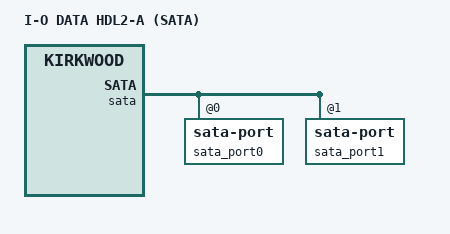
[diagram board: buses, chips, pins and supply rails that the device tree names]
// SPDX-License-Identifier: GPL-2.0-or-later OR MIT

#include "kirkwood-hdlx-a.dtsi"

/ {
	model = "I-O DATA HDL2-A (SATA)";
	compatible = "iodata,hdl2-a-sata", "marvell,kirkwood-88f6282", "marvell,kirkwood";

	chosen {
		/*
		 * Kernel and rootfs are stored to the storage connected to the
		 * SATA ports (port1 or port2) or USB port.
		 * The path to the partition (/dev/sdXN) which contains rootfs
		 * data will be assigned dynamically, so GPT partition UUID or
		 * MSDOS signature is required instead.
		 */
		bootargs-append = " earlycon root=PARTUUID=5452574f-2211-4433-5566-778899aabb02 rootwait=20";
	};

	thermal-zones {
		hdd0-thermal {
			polling-delay = <20000>;
			polling-delay-passive = <2000>;

			thermal-sensors = <&sata_port0>;

			trips {
				passive {
					temperature = <45000>;
					hysteresis = <2000>;
					type = "passive";
				};

				hot {
					temperature = <50000>;
					hysteresis = <2000>;
					type = "hot";
				};

				critical {
					temperature = <60000>;
					hysteresis = <6000>;
					type = "critical";
				};
			};
		};

		hdd1-thermal {
			polling-delay = <20000>;
			polling-delay-passive = <2000>;

			thermal-sensors = <&sata_port1>;

			trips {
				passive {
					temperature = <45000>;
					hysteresis = <2000>;
					type = "passive";
				};

				hot {
					temperature = <50000>;
					hysteresis = <2000>;
					type = "hot";
				};

				critical {
					temperature = <60000>;
					hysteresis = <6000>;
					type = "critical";
				};
			};
		};
	};
};

&sata {
	status = "okay";
	nr-ports = <2>;
	#address-cells = <1>;
	#size-cells = <0>;

	sata_port0: sata-port@0 {
		reg = <0>;
		#thermal-sensor-cells = <0>;
	};

	sata_port1: sata-port@1 {
		reg = <1>;
		#thermal-sensor-cells = <0>;
	};
};
